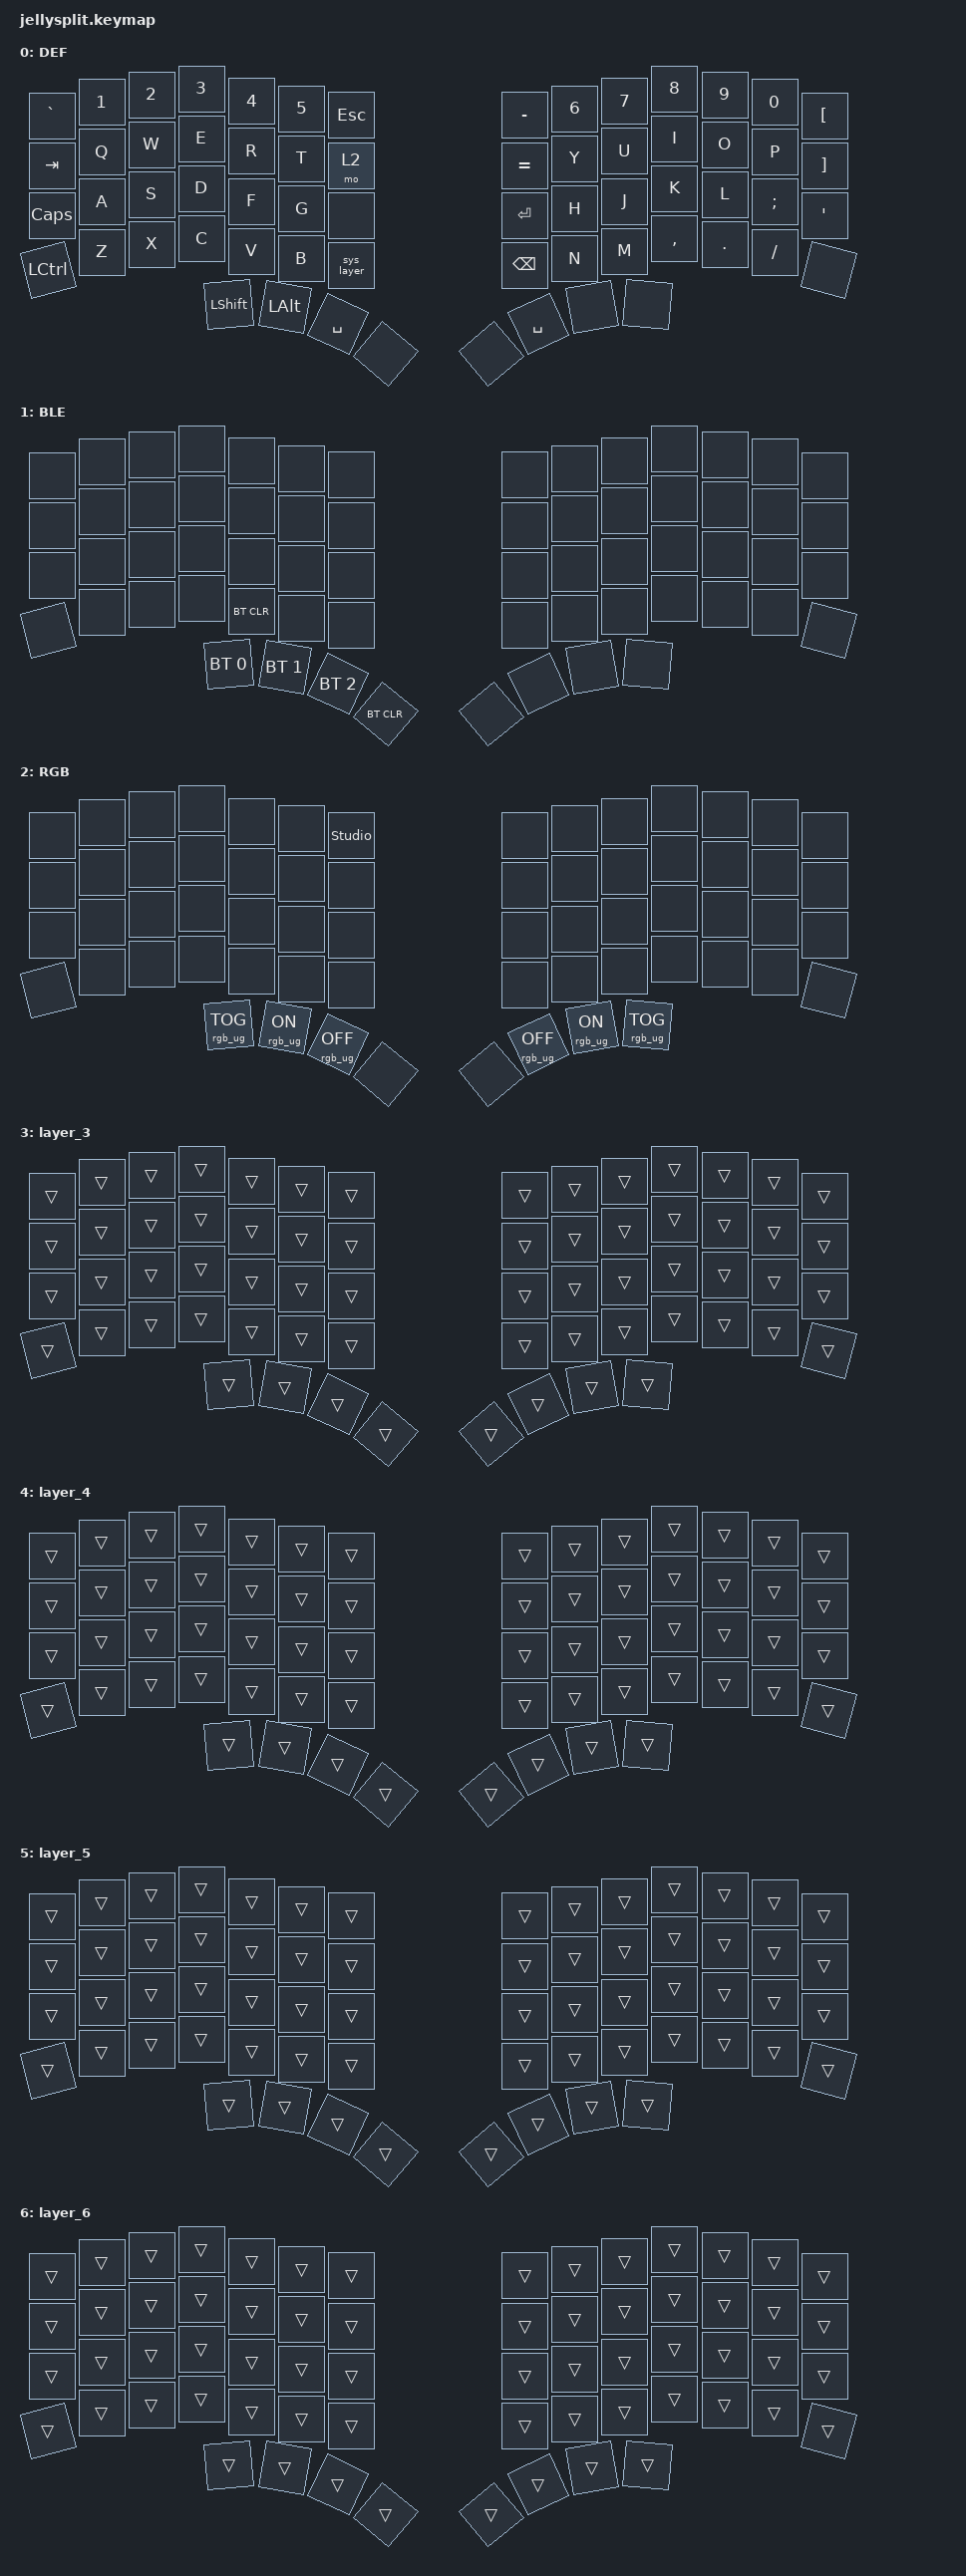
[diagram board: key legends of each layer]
#include <behaviors.dtsi>
#include <dt-bindings/zmk/bt.h>
#include <dt-bindings/zmk/keys.h>
#include <dt-bindings/zmk/rgb.h>

// Layer aliases

#define DEF 0
#define BLE 1
#define RGB 2

/ {
    combos {
        compatible = "zmk,combos";

        ResetLeft {
            bindings = <&bootloader>;
            key-positions = <0 59 6 42>;
        };

        ResetRight {
            bindings = <&bootloader>;
            key-positions = <60 55 13 7>;
        };
    };

    behaviors {
        sys_layer: sys_layer {
            compatible = "zmk,behavior-tap-dance";
            label = "SYS_LAYER";
            #binding-cells = <0>;
            bindings = <&mo 1>, <&mo 2>;
        };
    };

    keymap {
        compatible = "zmk,keymap";

        default_layer {
            display-name = "DEF";
            bindings = <
                &kp GRAVE  &kp N1  &kp N2  &kp N3     &kp N4    &kp N5     &kp ESC  	&kp MINUS      &kp N6     &kp N7  &kp N8     &kp N9   &kp N0    &kp LBKT
                &kp TAB    &kp Q   &kp W   &kp E      &kp R     &kp T      &mo 2    	&kp EQUAL      &kp Y      &kp U   &kp I      &kp O    &kp P     &kp RBKT
                &kp CAPS   &kp A   &kp S   &kp D      &kp F     &kp G      &none    	&kp ENTER      &kp H      &kp J   &kp K      &kp L    &kp SEMI  &kp SQT
                &kp LCTRL  &kp Z   &kp X   &kp C      &kp V     &kp B      &sys_layer   &kp BACKSPACE  &kp N      &kp M   &kp COMMA  &kp DOT  &kp FSLH  &none
                                           &kp LSHIFT &kp LALT  &kp SPACE  &none    	&none          &kp SPACE  &none   &none
            >;
        };

        ble_layer {
            display-name = "BLE";
            bindings = <
                &none  &none  &none  &none         &none         &none         &none         &none  &none  &none  &none  &none  &none  &none
                &none  &none  &none  &none         &none         &none         &none         &none  &none  &none  &none  &none  &none  &none
                &none  &none  &none  &none         &none         &none         &none         &none  &none  &none  &none  &none  &none  &none
                &none  &none  &none  &none         &bt BT_CLR    &none         &none         &none  &none  &none  &none  &none  &none  &none
                                     &bt BT_SEL 0  &bt BT_SEL 1  &bt BT_SEL 2  &bt BT_CLR    &none  &none  &none  &none
            >;
        };

        rgb_layer {
            display-name = "RGB";
            bindings = <
                &none  &none  &none  &none  &none            &none           &studio_unlock   &none  &none  &none            &none           &none           &none            &none
                &none  &none  &none  &none  &none            &none           &none            &none  &none  &none            &none           &none           &none            &none
                &none  &none  &none  &none  &none            &none           &none            &none  &none  &none            &none           &none           &none            &none
                &none  &none  &none  &none  &none            &none           &none            &none  &none  &none            &none           &none           &none            &none
                                            &rgb_ug RGB_TOG  &rgb_ug RGB_ON  &rgb_ug RGB_OFF  &none  &none  &rgb_ug RGB_OFF  &rgb_ug RGB_ON  &rgb_ug RGB_TOG
            >;
        };

        layer_3 {
            bindings = <
                &trans  &trans  &trans  &trans  &trans  &trans  &trans  &trans  &trans  &trans  &trans  &trans  &trans  &trans
                &trans  &trans  &trans  &trans  &trans  &trans  &trans  &trans  &trans  &trans  &trans  &trans  &trans  &trans
                &trans  &trans  &trans  &trans  &trans  &trans  &trans  &trans  &trans  &trans  &trans  &trans  &trans  &trans
                &trans  &trans  &trans  &trans  &trans  &trans  &trans  &trans  &trans  &trans  &trans  &trans  &trans  &trans
                                        &trans  &trans  &trans  &trans  &trans  &trans  &trans  &trans
            >;
        };

        layer_4 {
            bindings = <
                &trans  &trans  &trans  &trans  &trans  &trans  &trans  &trans  &trans  &trans  &trans  &trans  &trans  &trans
                &trans  &trans  &trans  &trans  &trans  &trans  &trans  &trans  &trans  &trans  &trans  &trans  &trans  &trans
                &trans  &trans  &trans  &trans  &trans  &trans  &trans  &trans  &trans  &trans  &trans  &trans  &trans  &trans
                &trans  &trans  &trans  &trans  &trans  &trans  &trans  &trans  &trans  &trans  &trans  &trans  &trans  &trans
                                        &trans  &trans  &trans  &trans  &trans  &trans  &trans  &trans
            >;
        };

        layer_5 {
            bindings = <
                &trans  &trans  &trans  &trans  &trans  &trans  &trans  &trans  &trans  &trans  &trans  &trans  &trans  &trans
                &trans  &trans  &trans  &trans  &trans  &trans  &trans  &trans  &trans  &trans  &trans  &trans  &trans  &trans
                &trans  &trans  &trans  &trans  &trans  &trans  &trans  &trans  &trans  &trans  &trans  &trans  &trans  &trans
                &trans  &trans  &trans  &trans  &trans  &trans  &trans  &trans  &trans  &trans  &trans  &trans  &trans  &trans
                                        &trans  &trans  &trans  &trans  &trans  &trans  &trans  &trans
            >;
        };

        layer_6 {
            bindings = <
                &trans  &trans  &trans  &trans  &trans  &trans  &trans  &trans  &trans  &trans  &trans  &trans  &trans  &trans
                &trans  &trans  &trans  &trans  &trans  &trans  &trans  &trans  &trans  &trans  &trans  &trans  &trans  &trans
                &trans  &trans  &trans  &trans  &trans  &trans  &trans  &trans  &trans  &trans  &trans  &trans  &trans  &trans
                &trans  &trans  &trans  &trans  &trans  &trans  &trans  &trans  &trans  &trans  &trans  &trans  &trans  &trans
                                        &trans  &trans  &trans  &trans  &trans  &trans  &trans  &trans
            >;
        };
    };
};
